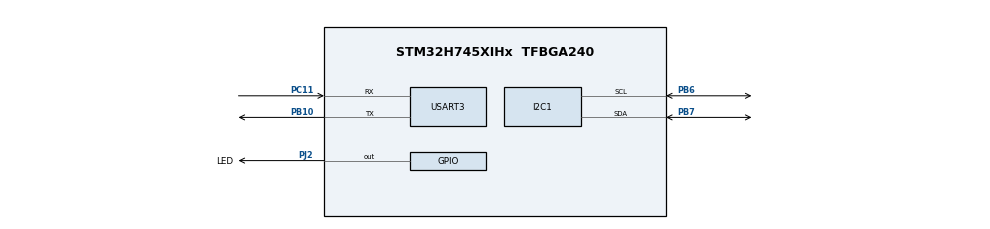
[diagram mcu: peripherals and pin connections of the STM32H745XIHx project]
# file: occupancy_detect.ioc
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CortexM4.IPs=FATFS_M4\:I,FREERTOS_M4\:I,IWDG2\:I,RCC,USB_DEVICE_M4\:I,USB_HOST_M4\:I,WWDG2\:I,DMA,BDMA,MDMA,NVIC2\:I,ETH\:I,FDCAN1\:I,FDCAN2\:I,FMC\:I,QUADSPI\:I,SAI2\:I,SDMMC1\:I,LTDC\:I,USB_OTG_FS\:I,SAI4\:I,DEBUG,PDM2PCM_M4\:I,PWR,RESMGR_UTILITY,SYS_M4\:I,CORTEX_M4\:I,OPENAMP_M4\:I,VREFBUF,GPIO
CortexM7.IPs=FATFS_M7\:I,FREERTOS_M7\:I,IWDG1\:I,RCC\:I,USB_DEVICE_M7\:I,USB_HOST_M7\:I,WWDG1\:I,DMA\:I,BDMA\:I,MDMA\:I,NVIC1\:I,CORTEX_M7\:I,DEBUG\:I,PDM2PCM_M7\:I,PWR\:I,RESMGR_UTILITY\:I,SYS\:I,OPENAMP_M7\:I,VREFBUF\:I,GPIO\:I,RTC\:I,I2C1\:I,USART3\:I,STMicroelectronics.X-CUBE-AI.9.0.0_M7\:I
CortexM7.Pins=PJ2
I2C1.Speed=50
I2C1.Timing=0x403032CA
Mcu.Family=STM32H7
Mcu.Name=STM32H745XIHx
Mcu.Package=TFBGA240
NVIC1.I2C1_EV_IRQn=true\:0\:0\:false\:false\:true\:true\:true\:true
NVIC1.PriorityGroup=NVIC_PRIORITYGROUP_4
NVIC1.USART3_IRQn=true\:0\:0\:false\:false\:true\:true\:true\:true
NVIC2.PriorityGroup=NVIC_PRIORITYGROUP_4
PB10.Mode=Asynchronous
PB10.PinAttribute=CortexM7
PB10.Signal=USART3_TX
PB6.Mode=I2C
PB6.PinAttribute=CortexM7
PB6.Signal=I2C1_SCL
PB7.Mode=I2C
PB7.PinAttribute=CortexM7
PB7.Signal=I2C1_SDA
PC11.Mode=Asynchronous
PC11.PinAttribute=CortexM7
PC11.Signal=USART3_RX
PJ2.GPIO_Label=LED
PJ2.PinAttribute=CortexM7
PJ2.Signal=GPIO_Output
ProjectManager.HeapSize=M4-0x200,M7-0x800
ProjectManager.StackSize=M4-0x400,M7-0x800
ProjectManager.TargetToolchain=STM32CubeIDE
RCC.ADCFreq_Value=129000000
RCC.APB1Freq_Value=64000000
RCC.APB2Freq_Value=64000000
RCC.APB3Freq_Value=64000000
RCC.APB4Freq_Value=64000000
RCC.CortexFreq_Value=64000000
RCC.DIVM1=23
RCC.DIVN1=177
RCC.DIVN3=192
RCC.DIVQ1=4
RCC.DIVR1=4
RCC.HCLKFreq_Value=64000000
RCC.PLL2FRACN=0
RCC.PLL3FRACN=0
RCC.PLLFRACN=0
RCC.PWR_Regulator_Voltage_Scale=PWR_REGULATOR_VOLTAGE_SCALE2
RCC.SYSCLKFreq_VALUE=64000000
RCC.SupplySource=PWR_DIRECT_SMPS_SUPPLY
RCC.USBFreq_Value=123130434.78260869
RTC.Date=2
RTC.Hours=16
RTC.Month=RTC_MONTH_FEBRUARY
RTC.Year=23
STMicroelectronics.X-CUBE-AI.9.0.0_M7.HeapSize=0x800
STMicroelectronics.X-CUBE-AI.9.0.0_M7.ReadyForCodeGeneration=false
STMicroelectronics.X-CUBE-AI.9.0.0_M7.StackSize=0x800
USART3.VirtualMode-Asynchronous=VM_ASYNC
VP_RTC_VS_RTC_Activate.Mode=RTC_Enabled
VP_RTC_VS_RTC_Calendar.Mode=RTC_Calendar
VP_SYS_M4_VS_Systick.Mode=SysTick
board=STM32H745I-DISCO

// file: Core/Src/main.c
/* USER CODE BEGIN Header */
/**
  ******************************************************************************
  * @file           : main.c
  * @brief          : Main program body
  ******************************************************************************
  * @attention
  *
  * Copyright (c) 2024 STMicroelectronics.
  * All rights reserved.
  *
  * This software is licensed under terms that can be found in the LICENSE file
  * in the root directory of this software component.
  * If no LICENSE file comes with this software, it is provided AS-IS.
  *
  ******************************************************************************
  */
/* USER CODE END Header */
#include "main.h"

/* USER CODE BEGIN Includes */

#include "network.h"
#include "network_data.h"
/* USER CODE END Includes */

/* USER CODE BEGIN PD */

#ifndef HSEM_ID_0
#define HSEM_ID_0 (0U) /* HW semaphore 0*/
#endif

/* USER CODE END PD */

I2C_HandleTypeDef hi2c1;

RTC_HandleTypeDef hrtc;

UART_HandleTypeDef huart3;

/* USER CODE BEGIN PV */
SensorData data = {0};

uint8_t INIT[] = "***** Initialize SCD30 sensor *****\r\n";
uint8_t PROBING_FAIL[] = "SCD30 sensor probing failed\r\n";
uint8_t PROBING_SUCCESS[] = "SCD30 sensor probing successful\n\n\r";

uint8_t READY_TIMEOUT[] = "\r\nTimeout waiting for data_ready flag\r\n";
uint8_t MEASURE_ERROR[] = "\r\nerror reading measurement\r\n";
uint8_t OFFICE[] = "Please type the office number: ";
uint8_t OCCUPANTS[] = "Please type the number of occupants\r\n";
uint8_t UART_ERROR[] = "UART failure\r\n";
uint8_t UART_OK[] = "\r\nUART_OKAY\r\n";
uint8_t COLUMNS[] = "\r\ndatetime,temperature,humidity,co2_concentration,average_co2_last_hour,average_temperature_last_hour,average_humidity_last_hour,current_value_minus_average_last_hour_co2,current_value_minus_average_last_hour_temperature,current_value_minus_average_last_hour_humidity,current_value_minus_last_15_min_co2,current_value_minus_last_15_min_temperature,current_value_minus_last_15_min_humidity,room_number,hour_of_the_day,day_number_of_the_week,day_of_year,floor_area,occupancy";

uint8_t RxBuffer[4];

/* Global handle to reference the instantiated C-model */
static ai_handle network = AI_HANDLE_NULL;

/* Global c-array to handle the activations buffer */
AI_ALIGNED(32)
static ai_u8 activations[AI_NETWORK_DATA_ACTIVATIONS_SIZE];

/* Array to store the data of the input tensor */
AI_ALIGNED(32)
static ai_float in_data[AI_NETWORK_IN_1_SIZE];
/* or static ai_u8 in_data[AI_NETWORK_IN_1_SIZE_BYTES]; */

/* c-array to store the data of the output tensor */
AI_ALIGNED(32)
static ai_float out_data[AI_NETWORK_OUT_1_SIZE];
/* static ai_u8 out_data[AI_NETWORK_OUT_1_SIZE_BYTES]; */

/* Array of pointer to manage the model's input/output tensors */
static ai_buffer *ai_input;
static ai_buffer *ai_output;

/* USER CODE END PV */

void SystemClock_Config(void);
static void MX_GPIO_Init(void);
static void MX_I2C1_Init(void);
static void MX_RTC_Init(void);
/* USER CODE BEGIN PFP */
ai_error ai_network_create_and_init(
  ai_handle* network, const ai_handle activations[], const ai_handle weights[]);
/* USER CODE END PFP */

int main(void)
{

  /* USER CODE BEGIN 1 */
	//char buf[50];
	//uint8_t buf_len = 0;

  /* USER CODE END 1 */
/* USER CODE BEGIN Boot_Mode_Sequence_0 */
	int32_t timeout;
/* USER CODE END Boot_Mode_Sequence_0 */

  /* Enable the CPU Cache */

	/* Enable I-Cache---------------------------------------------------------*/
	SCB_EnableICache();

	/* Enable D-Cache---------------------------------------------------------*/
	SCB_EnableDCache();

/* USER CODE BEGIN Boot_Mode_Sequence_1 */
	/* Wait until CPU2 boots and enters in stop mode or timeout*/
	/*timeout = 0xFFFF;
	while((__HAL_RCC_GET_FLAG(RCC_FLAG_D2CKRDY) != RESET) && (timeout-- > 0));
	if ( timeout < 0 )
	{
	  Error_Handler();
	}*/
/* USER CODE END Boot_Mode_Sequence_1 */
  /* MCU Configuration--------------------------------------------------------*/

  /* Reset of all peripherals, Initializes the Flash interface and the Systick. */
  HAL_Init();

  /* USER CODE BEGIN Init */

	// Enable global interrupts
	__enable_irq();
  /* USER CODE END Init */

  /* Configure the system clock */
  SystemClock_Config();
/* USER CODE BEGIN Boot_Mode_Sequence_2 */
	/* When system initialization is finished, Cortex-M7 will release Cortex-M4 by means of
	HSEM notification */
	/*HW semaphore Clock enable*/
	__HAL_RCC_HSEM_CLK_ENABLE();
	/*Take HSEM */
	HAL_HSEM_FastTake(HSEM_ID_0);
	/*Release HSEM in order to notify the CPU2(CM4)*/
	HAL_HSEM_Release(HSEM_ID_0,0);
	/* wait until CPU2 wakes up from stop mode */
	timeout = 0xFFFF;
	while((__HAL_RCC_GET_FLAG(RCC_FLAG_D2CKRDY) == RESET) && (timeout-- > 0));
	if ( timeout < 0 )
	{
		Error_Handler();
	}
/* USER CODE END Boot_Mode_Sequence_2 */

	/* Initialize all configured peripherals */
	MX_GPIO_Init();
	MX_I2C1_Init();
	MX_RTC_Init();
  /* USER CODE BEGIN 2 */

	/* ************************************** AI ************************************************ */
	AI_Init();

	/* ************************************** AI ************************************************ */
	MX_USART3_UART_Init();

	initialize_sensor_data(&data);

	int16_t err;
	uint8_t first_line = 1;
	if (HAL_UART_Transmit(&huart3, INIT, countof(INIT)-1, 1000) != HAL_OK)
	  Error_Handler();

	/* Busy loop for initialization, because the main loop does not work without
	* a sensor.
	*/
	while (scd30_probe(&hi2c1) != NO_ERROR) {
	  HAL_GPIO_TogglePin(GPIOJ, GPIO_PIN_2);
	  // probing failed
	  if (HAL_UART_Transmit(&huart3, PROBING_FAIL, countof(PROBING_FAIL)-1, 1000) != HAL_OK)
		  Error_Handler();
	  sensirion_sleep_usec(1000000u);
	}
	// probing was successful

	//if (HAL_UART_Transmit(&huart3, PROBING_SUCCESS, countof(PROBING_SUCCESS)-1, 1000) != HAL_OK)
	//	  Error_Handler();

	scd30_set_measurement_interval(&hi2c1, INTERVAL_IN_SECONDS);
	sensirion_sleep_usec(20000u);
	scd30_start_periodic_measurement(&hi2c1, 0);

  /* USER CODE END 2 */

  /* Infinite loop */
	while (1)
	{

    /* USER CODE BEGIN 3 */
		uint16_t data_ready = is_data_ready(&hi2c1, &huart3, INTERVAL_IN_SECONDS);
		if (!data_ready) {
		/* Timeout waiting for data_ready flag */
		if (HAL_UART_Transmit(&huart3, READY_TIMEOUT, countof(READY_TIMEOUT)-1, 1000) != HAL_OK)
			Error_Handler();
		continue;
		}
		  /* read measurements */
		err = populateSensorData(&data, &hi2c1, &hrtc);

		if (err != NO_ERROR) {
		  /* error reading measurement */
			if (HAL_UART_Transmit(&huart3, MEASURE_ERROR, countof(MEASURE_ERROR)-1, 1000) != HAL_OK)
				Error_Handler();

		} else {
		  /* print values */
			if (first_line)
				print_columns(&huart3, &first_line);

			print_values(&huart3, &data);
		}
		/* ************************************** AI ************************************************ */
		AI_fill_input_buffer(&data, in_data);

		// run inference
		AI_Run(in_data, out_data);

		// Read output (predicted y) of neural network

		// Print output of neural network along with inference time (microseconds)

		//free(data_in);
		/* ************************************** AI ************************************************ */

	}
  /* USER CODE END 3 */
}

void SystemClock_Config(void)
{
  RCC_OscInitTypeDef RCC_OscInitStruct = {0};
  RCC_ClkInitTypeDef RCC_ClkInitStruct = {0};

  /** Supply configuration update enable
  */
  HAL_PWREx_ConfigSupply(PWR_LDO_SUPPLY);

  /** Configure the main internal regulator output voltage
  */
  __HAL_PWR_VOLTAGESCALING_CONFIG(PWR_REGULATOR_VOLTAGE_SCALE1);

  while(!__HAL_PWR_GET_FLAG(PWR_FLAG_VOSRDY)) {}

  __HAL_RCC_SYSCFG_CLK_ENABLE();
  __HAL_PWR_VOLTAGESCALING_CONFIG(PWR_REGULATOR_VOLTAGE_SCALE0);

  while(!__HAL_PWR_GET_FLAG(PWR_FLAG_VOSRDY)) {}

  /** Initializes the RCC Oscillators according to the specified parameters
  * in the RCC_OscInitTypeDef structure.
  */
  RCC_OscInitStruct.OscillatorType = RCC_OSCILLATORTYPE_LSI|RCC_OSCILLATORTYPE_HSE;
  RCC_OscInitStruct.HSEState = RCC_HSE_ON;
  RCC_OscInitStruct.LSIState = RCC_LSI_ON;
  RCC_OscInitStruct.PLL.PLLState = RCC_PLL_ON;
  RCC_OscInitStruct.PLL.PLLSource = RCC_PLLSOURCE_HSE;
  RCC_OscInitStruct.PLL.PLLM = 5;
  RCC_OscInitStruct.PLL.PLLN = 160;
  RCC_OscInitStruct.PLL.PLLP = 2;
  RCC_OscInitStruct.PLL.PLLQ = 4;
  RCC_OscInitStruct.PLL.PLLR = 4;
  RCC_OscInitStruct.PLL.PLLRGE = RCC_PLL1VCIRANGE_2;
  RCC_OscInitStruct.PLL.PLLVCOSEL = RCC_PLL1VCOWIDE;
  RCC_OscInitStruct.PLL.PLLFRACN = 0;
  if (HAL_RCC_OscConfig(&RCC_OscInitStruct) != HAL_OK)
  {
    Error_Handler();
  }

  /** Initializes the CPU, AHB and APB buses clocks
  */
  RCC_ClkInitStruct.ClockType = RCC_CLOCKTYPE_HCLK|RCC_CLOCKTYPE_SYSCLK
                              |RCC_CLOCKTYPE_PCLK1|RCC_CLOCKTYPE_PCLK2
                              |RCC_CLOCKTYPE_D3PCLK1|RCC_CLOCKTYPE_D1PCLK1;
  RCC_ClkInitStruct.SYSCLKSource = RCC_SYSCLKSOURCE_PLLCLK;
  RCC_ClkInitStruct.SYSCLKDivider = RCC_SYSCLK_DIV1;
  RCC_ClkInitStruct.AHBCLKDivider = RCC_HCLK_DIV2;
  RCC_ClkInitStruct.APB3CLKDivider = RCC_APB3_DIV2;
  RCC_ClkInitStruct.APB1CLKDivider = RCC_APB1_DIV2;
  RCC_ClkInitStruct.APB2CLKDivider = RCC_APB2_DIV2;
  RCC_ClkInitStruct.APB4CLKDivider = RCC_APB4_DIV2;

  if (HAL_RCC_ClockConfig(&RCC_ClkInitStruct, FLASH_LATENCY_2) != HAL_OK)
  {
    Error_Handler();
  }
}

static void MX_I2C1_Init(void)
{

  hi2c1.Instance = I2C1;
  hi2c1.Init.Timing = 0x50404CFD;
  hi2c1.Init.OwnAddress1 = 0;
  hi2c1.Init.AddressingMode = I2C_ADDRESSINGMODE_7BIT;
  hi2c1.Init.DualAddressMode = I2C_DUALADDRESS_DISABLE;
  hi2c1.Init.OwnAddress2 = 0;
  hi2c1.Init.OwnAddress2Masks = I2C_OA2_NOMASK;
  hi2c1.Init.GeneralCallMode = I2C_GENERALCALL_DISABLE;
  hi2c1.Init.NoStretchMode = I2C_NOSTRETCH_DISABLE;
  if (HAL_I2C_Init(&hi2c1) != HAL_OK)
  {
    Error_Handler();
  }

  /** Configure Analogue filter
  */
  if (HAL_I2CEx_ConfigAnalogFilter(&hi2c1, I2C_ANALOGFILTER_ENABLE) != HAL_OK)
  {
    Error_Handler();
  }

  /** Configure Digital filter
  */
  if (HAL_I2CEx_ConfigDigitalFilter(&hi2c1, 0) != HAL_OK)
  {
    Error_Handler();
  }

}

static void MX_RTC_Init(void)
{

  RTC_TimeTypeDef sTime = {0};
  RTC_DateTypeDef sDate = {0};

  /** Initialize RTC Only
  */
  hrtc.Instance = RTC;
  hrtc.Init.HourFormat = RTC_HOURFORMAT_24;
  hrtc.Init.AsynchPrediv = 127;
  hrtc.Init.SynchPrediv = 255;
  hrtc.Init.OutPut = RTC_OUTPUT_DISABLE;
  hrtc.Init.OutPutPolarity = RTC_OUTPUT_POLARITY_HIGH;
  hrtc.Init.OutPutType = RTC_OUTPUT_TYPE_OPENDRAIN;
  hrtc.Init.OutPutRemap = RTC_OUTPUT_REMAP_NONE;
  if (HAL_RTC_Init(&hrtc) != HAL_OK)
  {
    Error_Handler();
  }

  /** Initialize RTC and set the Time and Date
  */
  sTime.Hours = 0x0;
  sTime.Minutes = 0x0;
  sTime.Seconds = 0x0;
  sTime.DayLightSaving = RTC_DAYLIGHTSAVING_NONE;
  sTime.StoreOperation = RTC_STOREOPERATION_RESET;
  if (HAL_RTC_SetTime(&hrtc, &sTime, RTC_FORMAT_BCD) != HAL_OK)
  {
    Error_Handler();
  }
  sDate.WeekDay = RTC_WEEKDAY_SATURDAY;
  sDate.Month = RTC_MONTH_JULY;
  sDate.Date = 0x13;
  sDate.Year = 0x24;

  if (HAL_RTC_SetDate(&hrtc, &sDate, RTC_FORMAT_BCD) != HAL_OK)
  {
    Error_Handler();
  }

}

void MX_USART3_UART_Init(void)
{

  huart3.Instance = USART3;
  huart3.Init.BaudRate = 9600;
  huart3.Init.WordLength = UART_WORDLENGTH_8B;
  huart3.Init.StopBits = UART_STOPBITS_1;
  huart3.Init.Parity = UART_PARITY_NONE;
  huart3.Init.Mode = UART_MODE_TX_RX;
  huart3.Init.HwFlowCtl = UART_HWCONTROL_NONE;
  huart3.Init.OverSampling = UART_OVERSAMPLING_16;
  huart3.Init.OneBitSampling = UART_ONE_BIT_SAMPLE_DISABLE;
  huart3.Init.ClockPrescaler = UART_PRESCALER_DIV1;
  huart3.AdvancedInit.AdvFeatureInit = UART_ADVFEATURE_NO_INIT;
  if (HAL_UART_Init(&huart3) != HAL_OK)
  {
    Error_Handler();
  }
  if (HAL_UARTEx_SetTxFifoThreshold(&huart3, UART_TXFIFO_THRESHOLD_1_8) != HAL_OK)
  {
    Error_Handler();
  }
  if (HAL_UARTEx_SetRxFifoThreshold(&huart3, UART_RXFIFO_THRESHOLD_1_4) != HAL_OK)
  {
    Error_Handler();
  }
  if (HAL_UARTEx_DisableFifoMode(&huart3) != HAL_OK)
  {
    Error_Handler();
  }
  /* USER CODE BEGIN USART3_Init 2 */
  HAL_NVIC_SetPriority(USART3_IRQn, 4, 0);
  HAL_NVIC_EnableIRQ(USART3_IRQn);

  /* Enable the UART RX FIFO full interrupt */
  __HAL_UART_ENABLE_IT(&huart3, UART_IT_RXFF);
  HAL_UART_Receive_IT(&huart3, (uint8_t*)&RxBuffer, 1);

  //HAL_UART_Receive_IT(&huart3, &data.occupancy, 1);
  /* USER CODE END USART3_Init 2 */

}

static void MX_GPIO_Init(void)
{
  GPIO_InitTypeDef GPIO_InitStruct = {0};

  /* GPIO Ports Clock Enable */
  __HAL_RCC_GPIOB_CLK_ENABLE();
  __HAL_RCC_GPIOC_CLK_ENABLE();
  __HAL_RCC_GPIOJ_CLK_ENABLE();

  /*Configure GPIO pin Output Level */
  HAL_GPIO_WritePin(GPIOJ, GPIO_PIN_2, GPIO_PIN_RESET);

  /*Configure GPIO pin : PJ2 */
  GPIO_InitStruct.Pin = GPIO_PIN_2;
  GPIO_InitStruct.Mode = GPIO_MODE_OUTPUT_PP;
  GPIO_InitStruct.Pull = GPIO_NOPULL;
  GPIO_InitStruct.Speed = GPIO_SPEED_FREQ_LOW;
  HAL_GPIO_Init(GPIOJ, &GPIO_InitStruct);

}

/* USER CODE BEGIN 4 */

// Initialize sensor data
void initialize_sensor_data(SensorData *data)
{
	data->datetime = "";
    data->co2_concentration = 0.0;
    data->temperature = 0.0;
    data->humidity = 0.0;
    data->average_co2_last_hour = 0.0;
    data->average_temperature_last_hour = 0.0;
    data->average_humidity_last_hour = 0.0;
    data->current_value_minus_average_last_hour_co2 = 0.0;
    data->current_value_minus_average_last_hour_temperature = 0.0;
    data->current_value_minus_average_last_hour_humidity = 0.0;
    data->current_value_minus_last_15_min_co2 = 0.0;
    data->current_value_minus_last_15_min_temperature = 0.0;
    data->current_value_minus_last_15_min_humidity = 0.0;
    data->occupancy = 5;
    data->buffer_count = 0;
}
// Update rolling averages
void update_rolling_averages(SensorData *data, float new_co2, float new_temperature, float new_humidity)
{
    static float co2_window[WINDOW_SIZE] = {0.0};
    static float temp_window[WINDOW_SIZE] = {0.0};
    static float hum_window[WINDOW_SIZE] = {0.0};
    static int index = 0;

    // Update averages only if there are enough elements in the buffer
    if (data->buffer_count == WINDOW_SIZE) {
        // Update averages
        float sum_co2 = 0.0, sum_temp = 0.0, sum_hum = 0.0;
        for (int i = 0; i < WINDOW_SIZE; ++i) {
            sum_co2 += co2_window[i];
            sum_temp += temp_window[i];
            sum_hum += hum_window[i];
        }

        data->average_co2_last_hour = sum_co2 / WINDOW_SIZE;
        data->average_temperature_last_hour = sum_temp / WINDOW_SIZE;
        data->average_humidity_last_hour = sum_hum / WINDOW_SIZE;

        // Update other features
        data->current_value_minus_average_last_hour_co2 = data->co2_concentration - data->average_co2_last_hour;
        data->current_value_minus_average_last_hour_temperature = data->temperature - data->average_temperature_last_hour;
        data->current_value_minus_average_last_hour_humidity = data->humidity - data->average_humidity_last_hour;
    } else {
        // If there aren't enough elements, initialize averages to current values
        data->average_co2_last_hour = new_co2;
        data->average_temperature_last_hour = new_temperature;
        data->average_humidity_last_hour = new_humidity;

        // Set other features to zero or default values
        data->current_value_minus_average_last_hour_co2 = 0.0;
        data->current_value_minus_average_last_hour_temperature = 0.0;
        data->current_value_minus_average_last_hour_humidity = 0.0;
    }
    // Increment buffer count if it's less than WINDOW_SIZE
    if (data->buffer_count < WINDOW_SIZE) {
        data->buffer_count++;
    }
    // Update the circular buffers
    co2_window[index] = new_co2;
    temp_window[index] = new_temperature;
    hum_window[index] = new_humidity;

    // Move to the next index (circular buffer)
    index = (index + 1) % WINDOW_SIZE;
}

// Update current values minus last measurement
void update_current_minus_last_measure(SensorData *data, float new_co2, float new_temperature, float new_humidity)
{
	if (data->buffer_count > 1) {
	    data->current_value_minus_last_15_min_co2 = new_co2 - data->co2_concentration;
	    data->current_value_minus_last_15_min_temperature = new_temperature - data->temperature;
	    data->current_value_minus_last_15_min_humidity = new_humidity - data->humidity;
	} else {
	    data->current_value_minus_last_15_min_co2 = 0.0;
	    data->current_value_minus_last_15_min_temperature = 0.0;
	    data->current_value_minus_last_15_min_humidity = 0.0;
	}
}

uint8_t populateSensorData(SensorData *data,  I2C_HandleTypeDef* hi2c, RTC_HandleTypeDef *hrtc)
{
	float new_co2 = 0.0, new_temperature = 0.0, new_humidity = 0.0;

	uint8_t err = scd30_read_measurement(&hi2c1, &new_co2, &new_temperature, &new_humidity);

	update_rolling_averages(data, new_co2, new_temperature, new_humidity);
	update_current_minus_last_measure(data, new_co2, new_temperature, new_humidity);

	// Update current values
	data->co2_concentration = new_co2;
	data->temperature = new_temperature;
	data->humidity = new_humidity;

	/*************************************** update time features **************************************/
    uint8_t datetime_length = 20;
    char datetime[datetime_length];

    RTC_TimeTypeDef time_struct;
    RTC_DateTypeDef date_struct;
    /* Get the RTC current Time */
    HAL_RTC_GetTime(hrtc, &time_struct, RTC_FORMAT_BIN);
    /* Get the RTC current Date */
    HAL_RTC_GetDate(hrtc, &date_struct, RTC_FORMAT_BIN);

    // formate datetime dd-mm-yy hh:mm
    snprintf(datetime, datetime_length, "%02d-%02d-%02d %02d:%02d",
    		date_struct.Date, date_struct.Month, date_struct.Year, time_struct.Hours, time_struct.Minutes);

    data->datetime = (char*)malloc(datetime_length * sizeof(char));
    if (data->datetime != NULL) {
    	strcpy(data->datetime, datetime);
    }

    data->datetime_length = datetime_length;
    data->hour_of_the_day = time_struct.Hours;
    data->day_number_of_the_week = getDayOfWeek(date_struct);
    data->day_of_year = getDayOfYear(date_struct);

    /*************************************** update other features **************************************/
    data->floor_area = FLOOR_AREA;
    data->room_number = ROOM_NUMBER;
    data->occupancy = OCCUPANCY;

    return err;
}

void print_values(UART_HandleTypeDef* huart, SensorData* data)
{
	char display_str[DISPLAY_LENGTH] = ""; // formated string for measurements

	/*snprintf(display_str, DISPLAY_LENGTH, "\r\n%s , ",
				data->datetime);
*/
	snprintf(display_str, DISPLAY_LENGTH, "\r\n%s , %.1f , %.1f , %.1f , %.2f , %.2f , %.2f , %.2f , %.2f , %.2f , %.2f , %.2f , %.2f , %d , %d , %d , %d , %d , %d\r",
			data->datetime, data->temperature,  data->humidity,data->co2_concentration,
			data->average_co2_last_hour, data->average_temperature_last_hour, data->average_humidity_last_hour,
			data->current_value_minus_average_last_hour_co2, data->current_value_minus_average_last_hour_temperature, data->current_value_minus_average_last_hour_humidity,
			data->current_value_minus_last_15_min_co2, data->current_value_minus_last_15_min_temperature, data->current_value_minus_last_15_min_temperature,
			data->room_number, data->hour_of_the_day, data->day_number_of_the_week,
			data->day_of_year, data->floor_area, data->occupancy);

	if (HAL_UART_Transmit(huart, (uint8_t *)display_str, countof(display_str)-1, 1000) != HAL_OK)
		Error_Handler();
}

void print_columns(UART_HandleTypeDef* huart, uint8_t* first_line)
{
	if (HAL_UART_Transmit(huart, (uint8_t *)COLUMNS, countof(COLUMNS)-1, 1000) != HAL_OK)
		Error_Handler();

	*first_line = 0;
}

ai_error AI_Init(void)
{
	ai_error err = {
			.type = AI_ERROR_NONE,
			.code = AI_ERROR_CODE_NONE
	};

	/* Create and initialize the c-model */
	const ai_handle acts[] = { activations };
	err = ai_network_create_and_init(&network, acts, NULL);

	/* Reteive pointers to the model's input/output tensors */
	ai_input = ai_network_inputs_get(network, NULL);
	ai_output = ai_network_outputs_get(network, NULL);

	return err;

	/*
    const ai_buffer* ai_input_pointers;
    const ai_buffer* ai_output_pointers;

    ai_input_pointers = ai_room_occ_model_inputs_get(room_occ_model, NULL);
    ai_output_pointers = ai_room_occ_model_outputs_get(room_occ_model, NULL);

    memcpy(ai_input, ai_input_pointers, sizeof(ai_buffer) * AI_ROOM_OCC_MODEL_IN_NUM);
    memcpy(ai_output, ai_output_pointers, sizeof(ai_buffer) * AI_ROOM_OCC_MODEL_OUT_NUM);
*/
    //ai_input = ai_room_occ_model_inputs_get(room_occ_model, NULL);
    //ai_output = ai_room_occ_model_outputs_get(room_occ_model, NULL);

	/*
	ai_error ai_err;

	// Create an instance of the model
	ai_err = ai_room_occ_model_create(&room_occ_model, AI_ROOM_OCC_MODEL_DATA_CONFIG);
	if (ai_err.type != AI_ERROR_NONE) {
	    // Handle error
	    printf("Error creating AI model instance: type=%d code=%d\r\n", ai_err.type, ai_err.code);
	    return;
	}
	  ai_network_params ai_params = AI_NETWORK_PARAMS_INIT(
	        AI_BUFFER_OBJ_INIT(
	            AI_BUFFER_FORMAT_U8,
	            AI_ROOM_OCC_MODEL_DATA_ACTIVATIONS_SIZE,
	            1,
	            1,
	            1,
	            room_occ_model_activations
	        ),
	        AI_BUFFER_OBJ_INIT(
	            AI_BUFFER_FORMAT_U8,
	            AI_ROOM_OCC_MODEL_DATA));
	 */
}

ai_error AI_Run(const void *in_data, void *out_data)
{
	ai_i32 n_batch;
	ai_error err = {
		.type = AI_ERROR_NONE,
		.code = AI_ERROR_CODE_NONE
	};
	/* 1 - Update IO handlers with the data payload */
	ai_input[0].data = AI_HANDLE_PTR(in_data);
	ai_output[0].data = AI_HANDLE_PTR(out_data);

	/* 2 - Perform the inference */
	n_batch = ai_network_run(network, &ai_input[0], &ai_output[0]);
	if (n_batch != 1) {
	  err = ai_network_get_error(network);
	};

	return err;
}

void AI_fill_input_buffer(SensorData *data, ai_float* in_data)
{

	uint8_t i = 0;
	in_data[i++] = data->temperature;
	in_data[i++] = data->humidity;
	in_data[i++] = data->co2_concentration;
	in_data[i++] = data->average_co2_last_hour;
	in_data[i++] = data->average_temperature_last_hour;
	in_data[i++] = data->average_humidity_last_hour;
	in_data[i++] = data->current_value_minus_average_last_hour_co2;
	in_data[i++] = data->current_value_minus_average_last_hour_temperature;
	in_data[i++] = data->current_value_minus_average_last_hour_humidity;
	in_data[i++] = data->current_value_minus_last_15_min_co2;
	in_data[i++] = data->current_value_minus_last_15_min_temperature;
	in_data[i++] = data->current_value_minus_last_15_min_humidity;
	in_data[i++] = data->room_number;
	in_data[i++] = data->hour_of_the_day;
	in_data[i++] = data->day_number_of_the_week;
	in_data[i++] = data->day_of_year;
	in_data[i++] = data->floor_area;

}
// UART receive complete callback
void HAL_UART_RxCpltCallback(UART_HandleTypeDef *huart) {
    if (huart->Instance == USART3) {

        // Start another reception
    	HAL_UART_Receive_IT(&huart3, (uint8_t*)&RxBuffer, 1);
        //HAL_UART_Receive_IT(&huart3, &data.occupancy, 1);
    }
}
/*
void HAL_UART_RxCpltCallback(UART_HandleTypeDef *huart)
{
	 if(recvd_data == '\r') //when enter is pressed go to this condition
	 {
		 data_buffer[count++]='\r';
		 HAL_UART_Transmit(huart,data_buffer,count,1000); //transmit the full sentence again
		 memset(data_buffer, 0, count); // empty the data buffer
		 count = 0;
	 }
	 else
	 {
		 data_buffer[count++] = recvd_data; // every time when interrupt is happen, received 1 byte of data
	 }
	 HAL_UART_Receive_IT(&huart3,&recvd_data,1); //start next data receive interrupt

}
*/
void _close(void)
{
}
void _lseek(void)
{

}
void _read(void)
{
}
void _write(void)
{
}
void _fstat(void)
{
}
void _getpid(void)
{
}
void _isatty(void)
{
}
void _kill(void)
{
}

/* USER CODE END 4 */

void Error_Handler(void)
{
  /* USER CODE BEGIN Error_Handler_Debug */
  /* User can add his own implementation to report the HAL error return state */
  //__disable_irq();
  while (1)
  {
	  HAL_GPIO_TogglePin(GPIOJ, GPIO_PIN_2);
	  HAL_Delay(1000);
  }
  /* USER CODE END Error_Handler_Debug */
}
